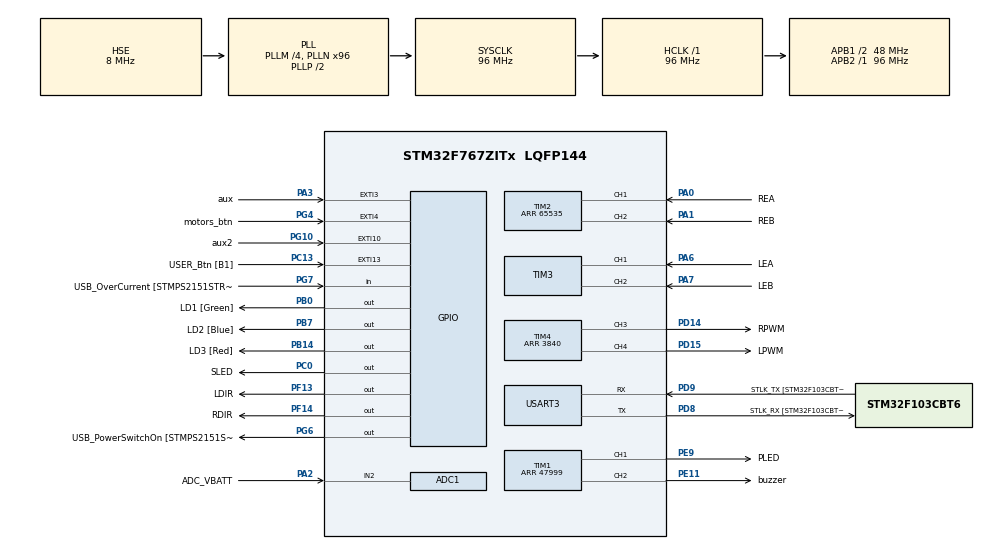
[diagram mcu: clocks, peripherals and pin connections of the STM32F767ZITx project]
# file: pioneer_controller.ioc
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ADC1.Channel-0\#ChannelRegularConversion=ADC_CHANNEL_2
ADC1.NbrOfConversionFlag=1
ADC1.Rank-0\#ChannelRegularConversion=1
ADC1.SamplingTime-0\#ChannelRegularConversion=ADC_SAMPLETIME_84CYCLES
ADC1.master=1
Dma.Request0=USART3_RX
Dma.USART3_RX.0.Direction=DMA_PERIPH_TO_MEMORY
Dma.USART3_RX.0.FIFOMode=DMA_FIFOMODE_DISABLE
Dma.USART3_RX.0.Instance=DMA1_Stream1
Dma.USART3_RX.0.MemDataAlignment=DMA_MDATAALIGN_BYTE
Dma.USART3_RX.0.MemInc=DMA_MINC_ENABLE
Dma.USART3_RX.0.Mode=DMA_NORMAL
Dma.USART3_RX.0.PeriphDataAlignment=DMA_PDATAALIGN_BYTE
Dma.USART3_RX.0.PeriphInc=DMA_PINC_DISABLE
Dma.USART3_RX.0.Priority=DMA_PRIORITY_LOW
Mcu.Family=STM32F7
Mcu.Name=STM32F767ZITx
Mcu.Package=LQFP144
NVIC.ADC_IRQn=true\:0\:0\:false\:false\:true\:true\:true\:true
NVIC.DMA1_Stream1_IRQn=true\:0\:0\:false\:false\:true\:false\:true\:true
NVIC.EXTI15_10_IRQn=true\:0\:0\:false\:false\:true\:true\:true\:true
NVIC.EXTI3_IRQn=true\:0\:0\:false\:false\:true\:true\:true\:true
NVIC.EXTI4_IRQn=true\:0\:0\:false\:false\:true\:true\:true\:true
NVIC.PriorityGroup=NVIC_PRIORITYGROUP_4
NVIC.TIM6_DAC_IRQn=true\:0\:0\:false\:false\:true\:true\:true\:true
NVIC.TIM7_IRQn=true\:0\:0\:false\:false\:true\:true\:true\:true
NVIC.USART3_IRQn=true\:0\:0\:false\:false\:true\:true\:true\:true
PA0/WKUP.GPIO_Label=REA
PA0/WKUP.Signal=S_TIM2_CH1_ETR
PA1.GPIO_Label=REB
PA1.Signal=S_TIM2_CH2
PA13.GPIO_Label=TMS
PA13.Mode=Serial_Wire
PA13.Signal=SYS_JTMS-SWDIO
PA14.GPIO_Label=TCK
PA14.Mode=Serial_Wire
PA14.Signal=SYS_JTCK-SWCLK
PA2.GPIO_Label=ADC_VBATT
PA2.Signal=ADCx_IN2
PA3.GPIO_Label=aux
PA3.GPIO_ModeDefaultEXTI=GPIO_MODE_IT_FALLING
PA3.Signal=GPXTI3
PA6.GPIO_Label=LEA
PA6.Signal=S_TIM3_CH1
PA7.GPIO_Label=LEB
PA7.Signal=S_TIM3_CH2
PB0.GPIO_Label=LD1 [Green]
PB0.Signal=GPIO_Output
PB14.GPIO_Label=LD3 [Red]
PB14.Signal=GPIO_Output
PB7.GPIO_Label=LD2 [Blue]
PB7.Signal=GPIO_Output
PC0.GPIO_Label=SLED
PC0.Signal=GPIO_Output
PC13.GPIO_Label=USER_Btn [B1]
PC13.GPIO_ModeDefaultEXTI=GPIO_MODE_IT_RISING_FALLING
PC13.Signal=GPXTI13
PC14/OSC32_IN.Mode=LSE-External-Oscillator
PC14/OSC32_IN.Signal=RCC_OSC32_IN
PC15/OSC32_OUT.Mode=LSE-External-Oscillator
PC15/OSC32_OUT.Signal=RCC_OSC32_OUT
PD14.GPIO_Label=RPWM
PD14.Signal=S_TIM4_CH3
PD15.GPIO_Label=LPWM
PD15.Signal=S_TIM4_CH4
PD8.GPIO_Label=STLK_RX [STM32F103CBT6_PA3]
PD8.Mode=Asynchronous
PD8.Signal=USART3_TX
PD9.GPIO_Label=STLK_TX [STM32F103CBT6_PA2]
PD9.Mode=Asynchronous
PD9.Signal=USART3_RX
PE11.GPIO_Label=buzzer
PE11.Signal=S_TIM1_CH2
PE9.GPIO_Label=PLED
PE9.Signal=S_TIM1_CH1
PF13.GPIO_Label=LDIR
PF13.Signal=GPIO_Output
PF14.GPIO_Label=RDIR
PF14.Signal=GPIO_Output
PG10.GPIO_Label=aux2
PG10.GPIO_ModeDefaultEXTI=GPIO_MODE_IT_FALLING
PG10.Signal=GPXTI10
PG4.GPIO_Label=motors_btn
PG4.GPIO_ModeDefaultEXTI=GPIO_MODE_IT_FALLING
PG4.Signal=GPXTI4
PG6.GPIO_Label=USB_PowerSwitchOn [STMPS2151STR_EN]
PG6.Signal=GPIO_Output
PG7.GPIO_Label=USB_OverCurrent [STMPS2151STR_FAULT]
PG7.Signal=GPIO_Input
PH0/OSC_IN.GPIO_Label=MCO [STM32F103CBT6_PA8]
PH0/OSC_IN.Mode=HSE-External-Clock-Source
PH0/OSC_IN.Signal=RCC_OSC_IN
PH1/OSC_OUT.Mode=HSE-External-Clock-Source
PH1/OSC_OUT.Signal=RCC_OSC_OUT
ProjectManager.HeapSize=0x200
ProjectManager.StackSize=0x400
ProjectManager.TargetToolchain=STM32CubeIDE
RCC.48MHZClocksFreq_Value=24000000
RCC.AHBFreq_Value=96000000
RCC.APB1CLKDivider=RCC_HCLK_DIV2
RCC.APB1Freq_Value=48000000
RCC.APB1TimFreq_Value=96000000
RCC.APB2Freq_Value=96000000
RCC.APB2TimFreq_Value=96000000
RCC.CortexFreq_Value=96000000
RCC.HCLKFreq_Value=96000000
RCC.HSE_VALUE=8000000
RCC.HSI_VALUE=16000000
RCC.PLLM=4
RCC.PLLMUL=RCC_PLL_MUL9
RCC.PLLN=96
RCC.PLLQ=4
RCC.PLLSourceVirtual=RCC_PLLSOURCE_HSE
RCC.PRESCALERUSB=RCC_USBCLKSOURCE_PLL_DIV1_5
RCC.SYSCLKFreq_VALUE=96000000
RCC.SYSCLKSource=RCC_SYSCLKSOURCE_PLLCLK
RCC.SYSCLKSourceVirtual=RCC_SYSCLKSOURCE_PLLCLK
RCC.USBFreq_Value=48000000
RCC.VCOOutputFreq_Value=192000000
SH.ADCx_IN2.0=ADC1_IN2,IN2
SH.S_TIM1_CH1.0=TIM1_CH1,PWM Generation1 CH1
SH.S_TIM1_CH2.0=TIM1_CH2,PWM Generation2 CH2
SH.S_TIM2_CH1_ETR.0=TIM2_CH1,Encoder_Interface
SH.S_TIM2_CH2.0=TIM2_CH2,Encoder_Interface
SH.S_TIM3_CH1.0=TIM3_CH1,Encoder_Interface
SH.S_TIM3_CH2.0=TIM3_CH2,Encoder_Interface
SH.S_TIM4_CH3.0=TIM4_CH3,PWM Generation3 CH3
SH.S_TIM4_CH4.0=TIM4_CH4,PWM Generation4 CH4
TIM1.Channel-PWM\ Generation1\ CH1=TIM_CHANNEL_1
TIM1.Channel-PWM\ Generation2\ CH2=TIM_CHANNEL_2
TIM1.Period=47999
TIM2.Period=65535
TIM3.EncoderMode=TIM_ENCODERMODE_TI12
TIM4.Channel-PWM\ Generation3\ CH3=TIM_CHANNEL_3
TIM4.Channel-PWM\ Generation4\ CH4=TIM_CHANNEL_4
TIM4.Period=3840
TIM7.AutoReloadPreload=TIM_AUTORELOAD_PRELOAD_DISABLE
TIM7.Period=9999
TIM7.Prescaler=10799
USART3.VirtualMode-Asynchronous=VM_ASYNC
VP_CRC_VS_CRC.Mode=CRC_Activate
VP_TIM6_VS_ClockSourceINT.Mode=Enable_Timer
VP_TIM7_VS_ClockSourceINT.Mode=Enable_Timer
board=NUCLEO-F767ZI

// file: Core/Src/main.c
/* USER CODE BEGIN Header */
/**
 ******************************************************************************
 * @file           : main.c
 * @brief          : Main program body
 ******************************************************************************
 * @attention
 *
 * <h2><center>&copy; Copyright (c) 2019 STMicroelectronics.
 * All rights reserved.</center></h2>
 *
 * This software component is licensed by ST under BSD 3-Clause license,
 * the "License"; You may not use this file except in compliance with the
 * License. You may obtain a copy of the License at:
 *                        opensource.org/licenses/BSD-3-Clause
 *
 ******************************************************************************
 */
/* USER CODE END Header */
#include "main.h"

/* USER CODE BEGIN Includes */

#include <math.h>   // M_PI
#include <string.h> // memcpy

#include "firmware/fmw_inc.h"

/* USER CODE END Includes */

/* USER CODE BEGIN PTD */
void message_handler(FMW_Message *msg, CRC_HandleTypeDef *hcrc) __attribute__((nonnull));

static __attribute__((always_inline)) inline Vec2Float setpoint_from_velocities(float baseline, float linear, float angular) {
  Vec2Float res = {
    .left = linear - (baseline * angular) / 2.f,
    .right = linear + (baseline * angular) / 2.f,
  };
  return res;
}

void emergency_mode_begin(void);
void emergency_mode_end(void);
/* USER CODE END PTD */

/* USER CODE BEGIN PD */
#define UART_HANDLE_PTR_USED_FOR_MESSAGE_EXCHANGE_PROTOCOL (&huart3)
/* USER CODE END PD */

ADC_HandleTypeDef hadc1;

CRC_HandleTypeDef hcrc;

TIM_HandleTypeDef htim1;
TIM_HandleTypeDef htim2;
TIM_HandleTypeDef htim3;
TIM_HandleTypeDef htim4;
TIM_HandleTypeDef htim6;
TIM_HandleTypeDef htim7;

UART_HandleTypeDef huart3;
DMA_HandleTypeDef hdma_usart3_rx;

/* USER CODE BEGIN PV */

// TODO(lb): fill with sensible default
static union {
  FMW_Encoder values[2];
  struct {
    FMW_Encoder right;
    FMW_Encoder left;
  };
} encoders = {
  .right = {
    .timer = &htim3,
    .ticks_per_revolution = 19150,
    .wheel_circumference = (200.f * M_PI) / 1000.f,
  },
  .left = {
    .timer = &htim2,
    .ticks_per_revolution = 19150,
    .wheel_circumference = (200.f * M_PI) / 1000.f,
  },
};

// TODO(lb): fill with sensible default
FMW_Odometry odometry = {
  .baseline = 0.3,
};

// TODO(lb): fill with sensible default
FMW_PidController pid_left = {
  .ks.fields = {
    .proportional = 0.1f,
    .integral     = 0.1f,
    .derivative   = 0.1f,
  },
};

// TODO(lb): fill with sensible default
FMW_PidController pid_right = {
  .ks.fields = {
    .proportional = 0.1f,
    .integral     = 0.1f,
    .derivative   = 0.1f,
  },
};

// TODO(lb): fill with sensible default
FMW_PidController pid_cross = {
  .ks.fields = {
    .proportional = 0.1f,
    .integral     = 0.1f,
    .derivative   = 0.1f,
  },
};

static union {
  FMW_Motor values[2];
  struct {
    FMW_Motor right;
    FMW_Motor left;
  };
} motors = {
  .right = {
    .sleep_gpio_port = sleep1_GPIO_Port,
    .sleep_pin = sleep1_Pin,
    .dir_gpio_port = dir1_GPIO_Port,
    .dir_pin = dir1_Pin,
    .pwm_timer = &htim4,
    .pwm_channel = TIM_CHANNEL_4,
  },
  .left = {
    .sleep_gpio_port = sleep2_GPIO_Port,
    .sleep_pin = sleep2_Pin,
    .dir_gpio_port = dir2_GPIO_Port,
    .dir_pin = dir2_Pin,
    .pwm_timer = &htim4,
    .pwm_channel = TIM_CHANNEL_3,
  },
};

FMW_Led pled = {
  .adc = &hadc1,
  .timer = &htim1,
  .timer_channel = TIM_CHANNEL_1,
  .voltage_red = 11.5f,
  .voltage_orange = 12.5f,
  .voltage_hysteresis = 0.05f,
  .state = FMW_LedState_Red,
};

FMW_Buzzer buzzer = {
  .timer = &htim1,
  .timer_channel = TIM_CHANNEL_2,
};

int32_t pid_max = 0;
int32_t pid_min = 0;

static uint32_t led_update_period = 200;

static volatile int32_t ticks_left  = 0;
static volatile int32_t ticks_right = 0;

/* USER CODE END PV */

void SystemClock_Config(void);
static void MX_GPIO_Init(void);
static void MX_DMA_Init(void);
static void MX_USART3_UART_Init(void);
static void MX_ADC1_Init(void);
static void MX_TIM4_Init(void);
static void MX_TIM1_Init(void);
static void MX_TIM2_Init(void);
static void MX_TIM3_Init(void);
static void MX_TIM6_Init(void);
static void MX_CRC_Init(void);
static void MX_TIM7_Init(void);

int main(void)
{

  /* MCU Configuration--------------------------------------------------------*/

  /* Reset of all peripherals, Initializes the Flash interface and the Systick. */
  HAL_Init();

  /* Configure the system clock */
  SystemClock_Config();

  /* Initialize all configured peripherals */
  MX_GPIO_Init();
  MX_DMA_Init();
  MX_USART3_UART_Init();
  MX_ADC1_Init();
  MX_TIM4_Init();
  MX_TIM1_Init();
  MX_TIM2_Init();
  MX_TIM3_Init();
  MX_TIM6_Init();
  MX_CRC_Init();
  MX_TIM7_Init();
  /* USER CODE BEGIN 2 */

  start();

  /* USER CODE END 2 */

  /* Infinite loop */
  while (1) {

  }
}

void SystemClock_Config(void)
{
  RCC_OscInitTypeDef RCC_OscInitStruct = {0};
  RCC_ClkInitTypeDef RCC_ClkInitStruct = {0};

  /** Configure LSE Drive Capability
  */
  HAL_PWR_EnableBkUpAccess();

  /** Configure the main internal regulator output voltage
  */
  __HAL_RCC_PWR_CLK_ENABLE();
  __HAL_PWR_VOLTAGESCALING_CONFIG(PWR_REGULATOR_VOLTAGE_SCALE3);

  /** Initializes the RCC Oscillators according to the specified parameters
  * in the RCC_OscInitTypeDef structure.
  */
  RCC_OscInitStruct.OscillatorType = RCC_OSCILLATORTYPE_HSE;
  RCC_OscInitStruct.HSEState = RCC_HSE_BYPASS;
  RCC_OscInitStruct.PLL.PLLState = RCC_PLL_ON;
  RCC_OscInitStruct.PLL.PLLSource = RCC_PLLSOURCE_HSE;
  RCC_OscInitStruct.PLL.PLLM = 4;
  RCC_OscInitStruct.PLL.PLLN = 96;
  RCC_OscInitStruct.PLL.PLLP = RCC_PLLP_DIV2;
  RCC_OscInitStruct.PLL.PLLQ = 4;
  RCC_OscInitStruct.PLL.PLLR = 2;
  if (HAL_RCC_OscConfig(&RCC_OscInitStruct) != HAL_OK)
  {
    Error_Handler();
  }

  /** Activate the Over-Drive mode
  */
  if (HAL_PWREx_EnableOverDrive() != HAL_OK)
  {
    Error_Handler();
  }

  /** Initializes the CPU, AHB and APB buses clocks
  */
  RCC_ClkInitStruct.ClockType = RCC_CLOCKTYPE_HCLK|RCC_CLOCKTYPE_SYSCLK
                              |RCC_CLOCKTYPE_PCLK1|RCC_CLOCKTYPE_PCLK2;
  RCC_ClkInitStruct.SYSCLKSource = RCC_SYSCLKSOURCE_PLLCLK;
  RCC_ClkInitStruct.AHBCLKDivider = RCC_SYSCLK_DIV1;
  RCC_ClkInitStruct.APB1CLKDivider = RCC_HCLK_DIV2;
  RCC_ClkInitStruct.APB2CLKDivider = RCC_HCLK_DIV1;

  if (HAL_RCC_ClockConfig(&RCC_ClkInitStruct, FLASH_LATENCY_3) != HAL_OK)
  {
    Error_Handler();
  }
}

static void MX_ADC1_Init(void)
{

  ADC_ChannelConfTypeDef sConfig = {0};

  /** Configure the global features of the ADC (Clock, Resolution, Data Alignment and number of conversion)
  */
  hadc1.Instance = ADC1;
  hadc1.Init.ClockPrescaler = ADC_CLOCK_SYNC_PCLK_DIV4;
  hadc1.Init.Resolution = ADC_RESOLUTION_12B;
  hadc1.Init.ScanConvMode = ADC_SCAN_DISABLE;
  hadc1.Init.ContinuousConvMode = DISABLE;
  hadc1.Init.DiscontinuousConvMode = DISABLE;
  hadc1.Init.ExternalTrigConvEdge = ADC_EXTERNALTRIGCONVEDGE_NONE;
  hadc1.Init.ExternalTrigConv = ADC_SOFTWARE_START;
  hadc1.Init.DataAlign = ADC_DATAALIGN_RIGHT;
  hadc1.Init.NbrOfConversion = 1;
  hadc1.Init.DMAContinuousRequests = DISABLE;
  hadc1.Init.EOCSelection = ADC_EOC_SINGLE_CONV;
  if (HAL_ADC_Init(&hadc1) != HAL_OK)
  {
    Error_Handler();
  }

  /** Configure for the selected ADC regular channel its corresponding rank in the sequencer and its sample time.
  */
  sConfig.Channel = ADC_CHANNEL_2;
  sConfig.Rank = ADC_REGULAR_RANK_1;
  sConfig.SamplingTime = ADC_SAMPLETIME_84CYCLES;
  if (HAL_ADC_ConfigChannel(&hadc1, &sConfig) != HAL_OK)
  {
    Error_Handler();
  }

}

static void MX_CRC_Init(void)
{

  hcrc.Instance = CRC;
  hcrc.Init.DefaultPolynomialUse = DEFAULT_POLYNOMIAL_ENABLE;
  hcrc.Init.DefaultInitValueUse = DEFAULT_INIT_VALUE_ENABLE;
  hcrc.Init.InputDataInversionMode = CRC_INPUTDATA_INVERSION_NONE;
  hcrc.Init.OutputDataInversionMode = CRC_OUTPUTDATA_INVERSION_DISABLE;
  hcrc.InputDataFormat = CRC_INPUTDATA_FORMAT_BYTES;
  if (HAL_CRC_Init(&hcrc) != HAL_OK)
  {
    Error_Handler();
  }

}

static void MX_TIM1_Init(void)
{

  TIM_MasterConfigTypeDef sMasterConfig = {0};
  TIM_OC_InitTypeDef sConfigOC = {0};
  TIM_BreakDeadTimeConfigTypeDef sBreakDeadTimeConfig = {0};

  htim1.Instance = TIM1;
  htim1.Init.Prescaler = 0;
  htim1.Init.CounterMode = TIM_COUNTERMODE_UP;
  htim1.Init.Period = 47999;
  htim1.Init.ClockDivision = TIM_CLOCKDIVISION_DIV1;
  htim1.Init.RepetitionCounter = 0;
  htim1.Init.AutoReloadPreload = TIM_AUTORELOAD_PRELOAD_DISABLE;
  if (HAL_TIM_PWM_Init(&htim1) != HAL_OK)
  {
    Error_Handler();
  }
  sMasterConfig.MasterOutputTrigger = TIM_TRGO_RESET;
  sMasterConfig.MasterOutputTrigger2 = TIM_TRGO2_RESET;
  sMasterConfig.MasterSlaveMode = TIM_MASTERSLAVEMODE_DISABLE;
  if (HAL_TIMEx_MasterConfigSynchronization(&htim1, &sMasterConfig) != HAL_OK)
  {
    Error_Handler();
  }
  sConfigOC.OCMode = TIM_OCMODE_PWM1;
  sConfigOC.Pulse = 0;
  sConfigOC.OCPolarity = TIM_OCPOLARITY_HIGH;
  sConfigOC.OCNPolarity = TIM_OCNPOLARITY_HIGH;
  sConfigOC.OCFastMode = TIM_OCFAST_DISABLE;
  sConfigOC.OCIdleState = TIM_OCIDLESTATE_RESET;
  sConfigOC.OCNIdleState = TIM_OCNIDLESTATE_RESET;
  if (HAL_TIM_PWM_ConfigChannel(&htim1, &sConfigOC, TIM_CHANNEL_1) != HAL_OK)
  {
    Error_Handler();
  }
  if (HAL_TIM_PWM_ConfigChannel(&htim1, &sConfigOC, TIM_CHANNEL_2) != HAL_OK)
  {
    Error_Handler();
  }
  sBreakDeadTimeConfig.OffStateRunMode = TIM_OSSR_DISABLE;
  sBreakDeadTimeConfig.OffStateIDLEMode = TIM_OSSI_DISABLE;
  sBreakDeadTimeConfig.LockLevel = TIM_LOCKLEVEL_OFF;
  sBreakDeadTimeConfig.DeadTime = 0;
  sBreakDeadTimeConfig.BreakState = TIM_BREAK_DISABLE;
  sBreakDeadTimeConfig.BreakPolarity = TIM_BREAKPOLARITY_HIGH;
  sBreakDeadTimeConfig.BreakFilter = 0;
  sBreakDeadTimeConfig.Break2State = TIM_BREAK2_DISABLE;
  sBreakDeadTimeConfig.Break2Polarity = TIM_BREAK2POLARITY_HIGH;
  sBreakDeadTimeConfig.Break2Filter = 0;
  sBreakDeadTimeConfig.AutomaticOutput = TIM_AUTOMATICOUTPUT_DISABLE;
  if (HAL_TIMEx_ConfigBreakDeadTime(&htim1, &sBreakDeadTimeConfig) != HAL_OK)
  {
    Error_Handler();
  }
  HAL_TIM_MspPostInit(&htim1);

}

static void MX_TIM2_Init(void)
{

  TIM_Encoder_InitTypeDef sConfig = {0};
  TIM_MasterConfigTypeDef sMasterConfig = {0};

  htim2.Instance = TIM2;
  htim2.Init.Prescaler = 0;
  htim2.Init.CounterMode = TIM_COUNTERMODE_UP;
  htim2.Init.Period = 65535;
  htim2.Init.ClockDivision = TIM_CLOCKDIVISION_DIV1;
  htim2.Init.AutoReloadPreload = TIM_AUTORELOAD_PRELOAD_DISABLE;
  sConfig.EncoderMode = TIM_ENCODERMODE_TI1;
  sConfig.IC1Polarity = TIM_ICPOLARITY_RISING;
  sConfig.IC1Selection = TIM_ICSELECTION_DIRECTTI;
  sConfig.IC1Prescaler = TIM_ICPSC_DIV1;
  sConfig.IC1Filter = 0;
  sConfig.IC2Polarity = TIM_ICPOLARITY_RISING;
  sConfig.IC2Selection = TIM_ICSELECTION_DIRECTTI;
  sConfig.IC2Prescaler = TIM_ICPSC_DIV1;
  sConfig.IC2Filter = 0;
  if (HAL_TIM_Encoder_Init(&htim2, &sConfig) != HAL_OK)
  {
    Error_Handler();
  }
  sMasterConfig.MasterOutputTrigger = TIM_TRGO_RESET;
  sMasterConfig.MasterSlaveMode = TIM_MASTERSLAVEMODE_DISABLE;
  if (HAL_TIMEx_MasterConfigSynchronization(&htim2, &sMasterConfig) != HAL_OK)
  {
    Error_Handler();
  }

}

static void MX_TIM3_Init(void)
{

  TIM_Encoder_InitTypeDef sConfig = {0};
  TIM_MasterConfigTypeDef sMasterConfig = {0};

  htim3.Instance = TIM3;
  htim3.Init.Prescaler = 0;
  htim3.Init.CounterMode = TIM_COUNTERMODE_UP;
  htim3.Init.Period = 65535;
  htim3.Init.ClockDivision = TIM_CLOCKDIVISION_DIV1;
  htim3.Init.AutoReloadPreload = TIM_AUTORELOAD_PRELOAD_DISABLE;
  sConfig.EncoderMode = TIM_ENCODERMODE_TI12;
  sConfig.IC1Polarity = TIM_ICPOLARITY_RISING;
  sConfig.IC1Selection = TIM_ICSELECTION_DIRECTTI;
  sConfig.IC1Prescaler = TIM_ICPSC_DIV1;
  sConfig.IC1Filter = 0;
  sConfig.IC2Polarity = TIM_ICPOLARITY_RISING;
  sConfig.IC2Selection = TIM_ICSELECTION_DIRECTTI;
  sConfig.IC2Prescaler = TIM_ICPSC_DIV1;
  sConfig.IC2Filter = 0;
  if (HAL_TIM_Encoder_Init(&htim3, &sConfig) != HAL_OK)
  {
    Error_Handler();
  }
  sMasterConfig.MasterOutputTrigger = TIM_TRGO_RESET;
  sMasterConfig.MasterSlaveMode = TIM_MASTERSLAVEMODE_DISABLE;
  if (HAL_TIMEx_MasterConfigSynchronization(&htim3, &sMasterConfig) != HAL_OK)
  {
    Error_Handler();
  }

}

static void MX_TIM4_Init(void)
{

  TIM_MasterConfigTypeDef sMasterConfig = {0};
  TIM_OC_InitTypeDef sConfigOC = {0};

  htim4.Instance = TIM4;
  htim4.Init.Prescaler = 0;
  htim4.Init.CounterMode = TIM_COUNTERMODE_UP;
  htim4.Init.Period = 3840;
  htim4.Init.ClockDivision = TIM_CLOCKDIVISION_DIV1;
  htim4.Init.AutoReloadPreload = TIM_AUTORELOAD_PRELOAD_DISABLE;
  if (HAL_TIM_PWM_Init(&htim4) != HAL_OK)
  {
    Error_Handler();
  }
  sMasterConfig.MasterOutputTrigger = TIM_TRGO_RESET;
  sMasterConfig.MasterSlaveMode = TIM_MASTERSLAVEMODE_DISABLE;
  if (HAL_TIMEx_MasterConfigSynchronization(&htim4, &sMasterConfig) != HAL_OK)
  {
    Error_Handler();
  }
  sConfigOC.OCMode = TIM_OCMODE_PWM1;
  sConfigOC.Pulse = 0;
  sConfigOC.OCPolarity = TIM_OCPOLARITY_HIGH;
  sConfigOC.OCFastMode = TIM_OCFAST_DISABLE;
  if (HAL_TIM_PWM_ConfigChannel(&htim4, &sConfigOC, TIM_CHANNEL_3) != HAL_OK)
  {
    Error_Handler();
  }
  if (HAL_TIM_PWM_ConfigChannel(&htim4, &sConfigOC, TIM_CHANNEL_4) != HAL_OK)
  {
    Error_Handler();
  }
  HAL_TIM_MspPostInit(&htim4);

}

static void MX_TIM6_Init(void)
{

  TIM_MasterConfigTypeDef sMasterConfig = {0};

  htim6.Instance = TIM6;
  htim6.Init.Prescaler = 0;
  htim6.Init.CounterMode = TIM_COUNTERMODE_UP;
  htim6.Init.Period = 65535;
  htim6.Init.AutoReloadPreload = TIM_AUTORELOAD_PRELOAD_DISABLE;
  if (HAL_TIM_Base_Init(&htim6) != HAL_OK)
  {
    Error_Handler();
  }
  sMasterConfig.MasterOutputTrigger = TIM_TRGO_RESET;
  sMasterConfig.MasterSlaveMode = TIM_MASTERSLAVEMODE_DISABLE;
  if (HAL_TIMEx_MasterConfigSynchronization(&htim6, &sMasterConfig) != HAL_OK)
  {
    Error_Handler();
  }

}

static void MX_TIM7_Init(void)
{

  TIM_MasterConfigTypeDef sMasterConfig = {0};

  htim7.Instance = TIM7;
  htim7.Init.Prescaler = 10799;
  htim7.Init.CounterMode = TIM_COUNTERMODE_UP;
  htim7.Init.Period = 9999;
  htim7.Init.AutoReloadPreload = TIM_AUTORELOAD_PRELOAD_DISABLE;
  if (HAL_TIM_Base_Init(&htim7) != HAL_OK)
  {
    Error_Handler();
  }
  sMasterConfig.MasterOutputTrigger = TIM_TRGO_RESET;
  sMasterConfig.MasterSlaveMode = TIM_MASTERSLAVEMODE_DISABLE;
  if (HAL_TIMEx_MasterConfigSynchronization(&htim7, &sMasterConfig) != HAL_OK)
  {
    Error_Handler();
  }

}

static void MX_USART3_UART_Init(void)
{

  huart3.Instance = USART3;
  huart3.Init.BaudRate = 115200;
  huart3.Init.WordLength = UART_WORDLENGTH_8B;
  huart3.Init.StopBits = UART_STOPBITS_1;
  huart3.Init.Parity = UART_PARITY_NONE;
  huart3.Init.Mode = UART_MODE_TX_RX;
  huart3.Init.HwFlowCtl = UART_HWCONTROL_NONE;
  huart3.Init.OverSampling = UART_OVERSAMPLING_16;
  huart3.Init.OneBitSampling = UART_ONE_BIT_SAMPLE_DISABLE;
  huart3.AdvancedInit.AdvFeatureInit = UART_ADVFEATURE_NO_INIT;
  if (HAL_UART_Init(&huart3) != HAL_OK)
  {
    Error_Handler();
  }

}

static void MX_DMA_Init(void)
{

  /* DMA controller clock enable */
  __HAL_RCC_DMA1_CLK_ENABLE();

  /* DMA interrupt init */
  /* DMA1_Stream1_IRQn interrupt configuration */
  HAL_NVIC_SetPriority(DMA1_Stream1_IRQn, 0, 0);
  HAL_NVIC_EnableIRQ(DMA1_Stream1_IRQn);

}

static void MX_GPIO_Init(void)
{
  GPIO_InitTypeDef GPIO_InitStruct = {0};

  /* GPIO Ports Clock Enable */
  __HAL_RCC_GPIOC_CLK_ENABLE();
  __HAL_RCC_GPIOH_CLK_ENABLE();
  __HAL_RCC_GPIOA_CLK_ENABLE();
  __HAL_RCC_GPIOB_CLK_ENABLE();
  __HAL_RCC_GPIOF_CLK_ENABLE();
  __HAL_RCC_GPIOE_CLK_ENABLE();
  __HAL_RCC_GPIOD_CLK_ENABLE();
  __HAL_RCC_GPIOG_CLK_ENABLE();

  /*Configure GPIO pin Output Level */
  HAL_GPIO_WritePin(SLED_GPIO_Port, SLED_Pin, GPIO_PIN_RESET);

  /*Configure GPIO pin Output Level */
  HAL_GPIO_WritePin(GPIOB, LD1_Pin|LD3_Pin|LD2_Pin, GPIO_PIN_RESET);

  /*Configure GPIO pin Output Level */
  HAL_GPIO_WritePin(GPIOF, LDIR_Pin|RDIR_Pin, GPIO_PIN_RESET);

  /*Configure GPIO pin Output Level */
  HAL_GPIO_WritePin(USB_PowerSwitchOn_GPIO_Port, USB_PowerSwitchOn_Pin, GPIO_PIN_RESET);

  /*Configure GPIO pin : USER_Btn_Pin */
  GPIO_InitStruct.Pin = USER_Btn_Pin;
  GPIO_InitStruct.Mode = GPIO_MODE_IT_RISING_FALLING;
  GPIO_InitStruct.Pull = GPIO_NOPULL;
  HAL_GPIO_Init(USER_Btn_GPIO_Port, &GPIO_InitStruct);

  /*Configure GPIO pin : SLED_Pin */
  GPIO_InitStruct.Pin = SLED_Pin;
  GPIO_InitStruct.Mode = GPIO_MODE_OUTPUT_PP;
  GPIO_InitStruct.Pull = GPIO_NOPULL;
  GPIO_InitStruct.Speed = GPIO_SPEED_FREQ_LOW;
  HAL_GPIO_Init(SLED_GPIO_Port, &GPIO_InitStruct);

  /*Configure GPIO pin : aux_Pin */
  GPIO_InitStruct.Pin = aux_Pin;
  GPIO_InitStruct.Mode = GPIO_MODE_IT_FALLING;
  GPIO_InitStruct.Pull = GPIO_NOPULL;
  HAL_GPIO_Init(aux_GPIO_Port, &GPIO_InitStruct);

  /*Configure GPIO pins : LD1_Pin LD3_Pin LD2_Pin */
  GPIO_InitStruct.Pin = LD1_Pin|LD3_Pin|LD2_Pin;
  GPIO_InitStruct.Mode = GPIO_MODE_OUTPUT_PP;
  GPIO_InitStruct.Pull = GPIO_NOPULL;
  GPIO_InitStruct.Speed = GPIO_SPEED_FREQ_LOW;
  HAL_GPIO_Init(GPIOB, &GPIO_InitStruct);

  /*Configure GPIO pins : LDIR_Pin RDIR_Pin */
  GPIO_InitStruct.Pin = LDIR_Pin|RDIR_Pin;
  GPIO_InitStruct.Mode = GPIO_MODE_OUTPUT_PP;
  GPIO_InitStruct.Pull = GPIO_NOPULL;
  GPIO_InitStruct.Speed = GPIO_SPEED_FREQ_LOW;
  HAL_GPIO_Init(GPIOF, &GPIO_InitStruct);

  /*Configure GPIO pins : motors_btn_Pin aux2_Pin */
  GPIO_InitStruct.Pin = motors_btn_Pin|aux2_Pin;
  GPIO_InitStruct.Mode = GPIO_MODE_IT_FALLING;
  GPIO_InitStruct.Pull = GPIO_NOPULL;
  HAL_GPIO_Init(GPIOG, &GPIO_InitStruct);

  /*Configure GPIO pin : USB_PowerSwitchOn_Pin */
  GPIO_InitStruct.Pin = USB_PowerSwitchOn_Pin;
  GPIO_InitStruct.Mode = GPIO_MODE_OUTPUT_PP;
  GPIO_InitStruct.Pull = GPIO_NOPULL;
  GPIO_InitStruct.Speed = GPIO_SPEED_FREQ_LOW;
  HAL_GPIO_Init(USB_PowerSwitchOn_GPIO_Port, &GPIO_InitStruct);

  /*Configure GPIO pin : USB_OverCurrent_Pin */
  GPIO_InitStruct.Pin = USB_OverCurrent_Pin;
  GPIO_InitStruct.Mode = GPIO_MODE_INPUT;
  GPIO_InitStruct.Pull = GPIO_NOPULL;
  HAL_GPIO_Init(USB_OverCurrent_GPIO_Port, &GPIO_InitStruct);

  /* EXTI interrupt init*/
  HAL_NVIC_SetPriority(EXTI3_IRQn, 0, 0);
  HAL_NVIC_EnableIRQ(EXTI3_IRQn);

  HAL_NVIC_SetPriority(EXTI4_IRQn, 0, 0);
  HAL_NVIC_EnableIRQ(EXTI4_IRQn);

  HAL_NVIC_SetPriority(EXTI15_10_IRQn, 0, 0);
  HAL_NVIC_EnableIRQ(EXTI15_10_IRQn);

}

/* USER CODE BEGIN 4 */
void start(void) {
  FMW_InitInfo fmw_info = {
    .motors = motors.values,
    .motors_count = ARRLENGTH(motors.values),
    .encoders = encoders.values,
    .encoders_count = ARRLENGTH(encoders.values),
    .emergency = {
      .timer = &htim7,
      .on_begin = emergency_mode_begin,
      .on_end = emergency_mode_end,
      .wait_at_most_ms_before_emergency = 2000,
    },
    .message_exchange = {
      .huart = UART_HANDLE_PTR_USED_FOR_MESSAGE_EXCHANGE_PROTOCOL,
      .hcrc = &hcrc,
      .handler = message_handler,
    },
  };
  FMW_ASSERT(fmw_init(&fmw_info) == FMW_Result_Ok);

  for (;;) {
    switch (fmw_mode_current()) {
    case FMW_Mode_Config: {
    } break;
    case FMW_Mode_Run: {
      static uint32_t time_last_led_update = 0;
      uint32_t time_now = HAL_GetTick();
      if (time_now - time_last_led_update >= led_update_period) {
        time_last_led_update = time_now;
        FMW_ASSERT(fmw_led_update(&pled) == FMW_Result_Ok);
      }
    } break;
    }
  }
}

Mat3Float mat3float_multiply(Mat3Float lhs, Mat3Float rhs) {
  Mat3Float output = {0};
  output.values[0][0] = (lhs.values[0][0] * rhs.values[0][0]) + (lhs.values[0][1] * rhs.values[1][0]) + (lhs.values[0][2] * rhs.values[2][0]);
  output.values[0][1] = (lhs.values[0][0] * rhs.values[0][1]) + (lhs.values[0][1] * rhs.values[1][1]) + (lhs.values[0][2] * rhs.values[2][1]);
  output.values[0][2] = (lhs.values[0][0] * rhs.values[0][2]) + (lhs.values[0][1] * rhs.values[1][2]) + (lhs.values[0][2] * rhs.values[2][2]);
  output.values[1][0] = (lhs.values[1][0] * rhs.values[0][0]) + (lhs.values[1][1] * rhs.values[1][0]) + (lhs.values[1][2] * rhs.values[2][0]);
  output.values[1][1] = (lhs.values[1][0] * rhs.values[0][1]) + (lhs.values[1][1] * rhs.values[1][1]) + (lhs.values[1][2] * rhs.values[2][1]);
  output.values[1][2] = (lhs.values[1][0] * rhs.values[0][2]) + (lhs.values[1][1] * rhs.values[1][2]) + (lhs.values[1][2] * rhs.values[2][2]);
  output.values[2][0] = (lhs.values[2][0] * rhs.values[0][0]) + (lhs.values[2][1] * rhs.values[1][0]) + (lhs.values[2][2] * rhs.values[2][0]);
  output.values[2][1] = (lhs.values[2][0] * rhs.values[0][1]) + (lhs.values[2][1] * rhs.values[1][1]) + (lhs.values[2][2] * rhs.values[2][1]);
  output.values[2][2] = (lhs.values[2][0] * rhs.values[0][2]) + (lhs.values[2][1] * rhs.values[1][2]) + (lhs.values[2][2] * rhs.values[2][2]);
  return output;
}

void emergency_mode_begin(void) {
  HAL_GPIO_TogglePin(GPIOB, LD1_Pin | LD2_Pin | LD3_Pin);
  fmw_encoder_count_reset(&encoders.left);
  fmw_encoder_count_reset(&encoders.right);
}

void emergency_mode_end(void) {
  HAL_GPIO_TogglePin(GPIOB, LD1_Pin | LD2_Pin | LD3_Pin);
}

void message_handler(FMW_Message *msg, CRC_HandleTypeDef *hcrc) {
  // NOTE(lb): the `msg->header.crc != -1` checks are just because i haven't
  //           implemented CRC into the program that sends these messages.
  //           i also don't know if the code to calculate CRC is correct (probably isn't).

  FMW_Result result = FMW_Result_Ok;
  if (msg->header.crc != -1) {
    uint32_t crc_received = msg->header.crc;
    msg->header.crc = 0;
    uint32_t crc_computed = HAL_CRC_Calculate(hcrc, (uint32_t*)msg, sizeof *msg);
    if (crc_computed != crc_received) {
      result = FMW_Result_Error_UART_Crc;
      goto msg_contains_error;
    }
  }

  switch (fmw_mode_current()) {
  case FMW_Mode_Config: {
    switch (msg->header.type) {
    case FMW_MessageType_ModeChange_Run: {
      result = fmw_encoders_init(); if (result != FMW_Result_Ok) { goto msg_contains_error; }
      result = fmw_motors_init();   if (result != FMW_Result_Ok) { goto msg_contains_error; }
      result = fmw_led_init(&pled); if (result != FMW_Result_Ok) { goto msg_contains_error; }

      // Right and left motors have the same parameters
      pid_max = (int32_t)htim4.Instance->ARR;
      pid_min = -pid_max;
      FMW_ASSERT(pid_max > pid_min);

      // Enables TIM6 interrupt (used for PID control)
      HAL_StatusTypeDef timer_status = HAL_TIM_Base_Start_IT(&htim6);
      FMW_ASSERT(timer_status == HAL_OK);

      FMW_ASSERT(fmw_mode_transition(FMW_Mode_Run) == FMW_Result_Ok);
    } break;
    case FMW_MessageType_Config_Robot: {
      if (!(msg->config_robot.baseline > 0.f)) {
        result = FMW_Result_Error_MessageHandler_Config_NonPositiveBaseline;
        goto msg_contains_error;
      }
      if (!(msg->config_robot.wheel_circumference_left > 0.f &&
            msg->config_robot.wheel_circumference_right > 0.f)) {
        result = FMW_Result_Error_MessageHandler_Config_NonPositiveWheelCircumference;
        goto msg_contains_error;
      }
      if (!(msg->config_robot.ticks_per_revolution_left > 0 &&
            msg->config_robot.ticks_per_revolution_right > 0)) {
        result = FMW_Result_Error_MessageHandler_Config_NonPositiveTicksPerRevolution;
        goto msg_contains_error;
      }

      odometry.baseline                         = msg->config_robot.baseline;
      encoders.left.wheel_circumference         = msg->config_robot.wheel_circumference_left;
      encoders.left.ticks_per_revolution        = msg->config_robot.ticks_per_revolution_left;
      encoders.right.wheel_circumference        = msg->config_robot.wheel_circumference_right;
      encoders.right.ticks_per_revolution       = msg->config_robot.ticks_per_revolution_right;
    } break;
    case FMW_MessageType_Config_PID: {
      memcpy(&pid_left.ks,  &msg->config_pid.left,  sizeof pid_left.ks);
      memcpy(&pid_right.ks, &msg->config_pid.right, sizeof pid_right.ks);
      memcpy(&pid_cross.ks, &msg->config_pid.cross, sizeof pid_cross.ks);
    } break;
    case FMW_MessageType_Config_LED: {
      if (!(msg->config_led.update_period > 0)) {
        result = FMW_Result_Error_MessageHandler_Config_NonPositiveLEDUpdatePeriod;
        goto msg_contains_error;
      }

      pled.voltage_red = msg->config_led.voltage_red;
      pled.voltage_orange = msg->config_led.voltage_orange;
      pled.voltage_hysteresis = msg->config_led.voltage_hysteresis;
      led_update_period = msg->config_led.update_period;
    } break;
    case FMW_MessageType_Emergency_Begin: {
      fmw_emergency_begin();
    } break;
    case FMW_MessageType_Emergency_End:
    case FMW_MessageType_ModeChange_Config:
    case FMW_MessageType_Run_GetStatus:
    case FMW_MessageType_Run_SetVelocity: {
      result = FMW_Result_Error_Command_NotAvailable;
      goto msg_contains_error;
    } break;
    default: {
      result = FMW_Result_Error_Command_NotRecognized;
      goto msg_contains_error;
    } break;
    }
  } break;
  case FMW_Mode_Run: {
    switch (msg->header.type) {
    case FMW_MessageType_Run_SetVelocity: {
      Vec2Float setpoint = setpoint_from_velocities(odometry.baseline, msg->run_set_velocity.linear, msg->run_set_velocity.angular);
      pid_left.setpoint  = setpoint.left;
      pid_right.setpoint = setpoint.right;
      pid_cross.setpoint = setpoint.left - setpoint.right;
    } // fallthrough
    case FMW_MessageType_Run_GetStatus: {
      // NOTE(lb): SetVelocity continues here as well because the previous case doesn't end with a `break`.
      //           order matters.

      int32_t ticks_measured_left = 0;
      int32_t ticks_measured_right = 0;
      result = fmw_encoder_count_get(&encoders.left, &ticks_measured_left);   if (result != FMW_Result_Ok) { goto msg_contains_error; }
      result = fmw_encoder_count_get(&encoders.right, &ticks_measured_right); if (result != FMW_Result_Ok) { goto msg_contains_error; }

      int32_t current_ticks_left = ticks_left + ticks_measured_left;
      int32_t current_ticks_right = ticks_right + ticks_measured_right;
      ticks_left = ticks_right = 0;

      static float time_millis_previous = 0.f;
      float time_millis_current = HAL_GetTick();
      float time_millis_delta = time_millis_current - time_millis_previous;
      time_millis_previous = time_millis_current;

      FMW_Message msg = {0};
      msg.header.type = FMW_MessageType_Response;
      msg.response.result = FMW_Result_Ok;
      msg.response.delta_millis = time_millis_delta;
      msg.response.ticks_left = current_ticks_left;
      msg.response.ticks_right = current_ticks_right;
      msg.response.position_x = odometry.position.x;
      msg.response.position_y = odometry.position.y;
      msg.response.orientation_x = odometry.orientation.x;
      msg.response.orientation_y = odometry.orientation.y;
      msg.response.velocity_linear = (odometry.velocity_linear.left + odometry.velocity_linear.right) / 2.f;
      msg.response.velocity_angular = odometry.velocity_angular;
      fmw_uart_message_send(&msg);
      return;
      // NOTE(lb): GetStatus&SetVelocity have to respond with the same special message format.
      //           so they don't continue down to `msg_contains_error`.
    } break;
    case FMW_MessageType_ModeChange_Config: {
      fmw_motors_stop();
      result = fmw_encoder_count_reset(&encoders.left);  if (result != FMW_Result_Ok) { goto msg_contains_error; }
      result = fmw_encoder_count_reset(&encoders.right); if (result != FMW_Result_Ok) { goto msg_contains_error; }

      result = fmw_encoders_deinit(); if (result != FMW_Result_Ok) { goto msg_contains_error; }
      result = fmw_motors_deinit();   if (result != FMW_Result_Ok) { goto msg_contains_error; }
      result = fmw_led_deinit(&pled); if (result != FMW_Result_Ok) { goto msg_contains_error; }

      HAL_StatusTypeDef timer_status = HAL_TIM_Base_Stop_IT(&htim6);
      FMW_ASSERT(timer_status == HAL_OK);

      FMW_ASSERT(fmw_mode_transition(FMW_Mode_Config) == FMW_Result_Ok);
    } break;
    case FMW_MessageType_Emergency_Begin: {
      fmw_emergency_begin();
    } break;
    case FMW_MessageType_Emergency_End:
    case FMW_MessageType_ModeChange_Run:
    case FMW_MessageType_Config_Robot:
    case FMW_MessageType_Config_PID:
    case FMW_MessageType_Config_LED: {
      result = FMW_Result_Error_Command_NotAvailable;
      goto msg_contains_error;
    } break;
    default: {
      result = FMW_Result_Error_Command_NotRecognized;
      goto msg_contains_error;
    } break;
    }
  } break;
  case FMW_Mode_Emergency: {
    switch (msg->header.type) {
    case FMW_MessageType_Emergency_End: {
      fmw_emergency_end();
    } break;
    default: {
      result = FMW_Result_Error_Command_NotAvailable;
    } break;
    }
  } break;
  }

  // NOTE(lb): control flow naturally converges here.
  //           the symbol is used to jump here directly in case of error.
 msg_contains_error:;
  FMW_Message msg_response = {0};
  msg_response.header.type = FMW_MessageType_Response;
  msg_response.response.result = result;
  fmw_uart_message_send(&msg_response);
}

void HAL_TIM_PeriodElapsedCallback(TIM_HandleTypeDef *htim) {
  if (htim == &htim7) { // TIMER 1Hz no message exchange check
    fmw_emergency_timer_update();
  } else if (htim == &htim6) { // TIMER 100Hz PID control
    fmw_encoders_update();
    ticks_left += encoders.left.ticks;
    ticks_right += encoders.right.ticks;

    float meters_traveled_left = FMW_METERS_FROM_TICKS(encoders.left.ticks, encoders.left.wheel_circumference, encoders.left.ticks_per_revolution);
    float meters_traveled_right = FMW_METERS_FROM_TICKS(encoders.right.ticks, encoders.right.wheel_circumference, encoders.right.ticks_per_revolution);

    fmw_odometry_pose_update(&odometry, meters_traveled_left, meters_traveled_right);

    float velocity_left = 0.f;
    float velocity_right = 0.f;
    fmw_encoder_get_linear_velocity(&encoders.left, meters_traveled_left, &velocity_left);
    fmw_encoder_get_linear_velocity(&encoders.right, meters_traveled_right, &velocity_right);

    odometry.velocity_linear.left = velocity_left;
    odometry.velocity_linear.right = velocity_right;
    odometry.velocity_angular = (velocity_right - velocity_left) / odometry.baseline;

    int32_t dutycycle_left = fmw_pid_update(&pid_left, velocity_left);
    int32_t dutycycle_right = fmw_pid_update(&pid_right, velocity_right);
    int32_t dutycycle_cross = fmw_pid_update(&pid_cross, velocity_left - velocity_right);

    dutycycle_left  += dutycycle_cross;
    dutycycle_right -= dutycycle_cross;

    fmw_motor_set_speed(&motors.left, dutycycle_left);
    fmw_motor_set_speed(&motors.right, dutycycle_right);
  }
}

void HAL_UART_RxCpltCallback(UART_HandleTypeDef *huart) {
  if (huart == UART_HANDLE_PTR_USED_FOR_MESSAGE_EXCHANGE_PROTOCOL) {
    fmw_uart_message_dispatch();
    return;
  }
}

void HAL_UART_ErrorCallback(UART_HandleTypeDef *huart) {
  if (huart == UART_HANDLE_PTR_USED_FOR_MESSAGE_EXCHANGE_PROTOCOL) {
    fmw_uart_error();
    return;
  }
}

void HAL_GPIO_EXTI_Callback(uint16_t GPIO_Pin) {
  uint32_t time_now = HAL_GetTick();

  switch (GPIO_Pin) {
  case USER_Btn_Pin: {
    static uint32_t time_btn_press_start = 0;
    static uint32_t time_last_emergency = 0;
    if (time_now - time_last_emergency <= FMW_DEBOUNCE_DELAY) { return; }
    time_last_emergency = time_now;
    GPIO_PinState btn_state = HAL_GPIO_ReadPin(USER_Btn_GPIO_Port, USER_Btn_Pin);
    if (btn_state == GPIO_PIN_SET) {
      time_btn_press_start = time_now;
    } else {
      uint32_t btn_held_duration = time_now - time_btn_press_start;
      if (btn_held_duration >= FMW_EMERGENCY_MODE_EXIT_BUTTON_HOLD_DURATION_MS) {
        fmw_emergency_end();
      } else  {
        fmw_emergency_begin();
      }
    }
  } break;
  case motors_btn_Pin: {
    static uint32_t time_last_motors = 0;
    if (time_now - time_last_motors > FMW_DEBOUNCE_DELAY) {
      time_last_motors = time_now;
      if (motors.left.active && motors.right.active) {
        fmw_motors_deinit();
        HAL_GPIO_WritePin(SLED_GPIO_Port, SLED_Pin, GPIO_PIN_RESET);
        fmw_buzzers_set(&buzzer, 1, false);
      } else {
        FMW_ASSERT(!motors.left.active);
        FMW_ASSERT(!motors.right.active);
        fmw_motors_init();
        HAL_GPIO_WritePin(SLED_GPIO_Port, SLED_Pin, GPIO_PIN_SET);
        fmw_buzzers_set(&buzzer, 1, false);
      }
    }
  } break;
  case fault1_Pin:
  case fault2_Pin: {
    fmw_motors_stop();
    FMW_Message response = {0};
    response.header.type = FMW_MessageType_Response;
    response.response.result = FMW_Result_Error_FaultPinTriggered;

    fmw_uart_message_send(&response);

    HAL_TIM_Base_Stop_IT(&htim6);
  } break;
  }
}
/* USER CODE END 4 */

void Error_Handler(void)
{
}
